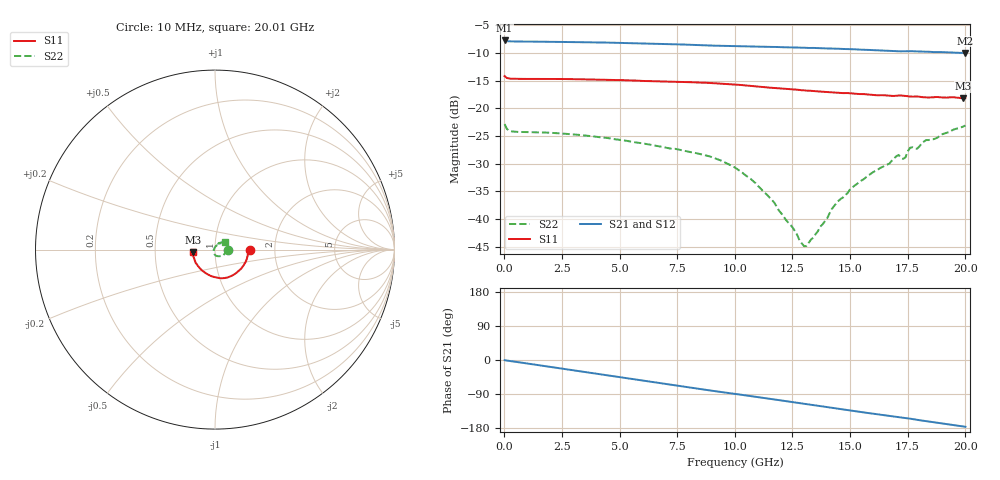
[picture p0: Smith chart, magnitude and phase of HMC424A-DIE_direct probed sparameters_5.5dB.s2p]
!s2p File: Measurements: S11, S21, S12, S22
# GHz S dB R 50.0
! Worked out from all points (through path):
!   201 points, 10 MHz to 20.01 GHz, reference 50 ohm
!   highest |S21| = -7.71 dB at 10 MHz (marker M1); lowest = -10.0 dB at 20.01 GHz (marker M2)
!   group delay of S21, straight-line fit = 24.3 ps
!   lowest |S11| = -18.1 dB at 19.91 GHz (marker M3), VSWR 1.28, Z = 39 - j1.12 ohm
!   |S11| at or under -10 dB: start of sweep to end of sweep
!   |S22| runs from -44.9 to -22.8 dB; largest |S21 - S12| = 0.0024
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0.01  -14.16 -1.0  -7.71 -0.4  -7.71 -0.4  -22.82 -1.9
0.11  -14.50 -2.1  -7.84 -1.5  -7.83 -1.5  -23.72 -5.1
0.31  -14.63 -2.9  -7.88 -3.2  -7.88 -3.2  -24.14 -4.9
3.41  -14.74 -23.8  -8.03 -31.2  -8.03 -31.2  -24.86 -28.2
6.71  -15.11 -48.0  -8.31 -61.0  -8.31 -61.0  -26.83 -53.8
8.91  -15.40 -66.2  -8.63 -80.2  -8.63 -80.2  -28.67 -75.0
10.01  -15.68 -76.2  -8.74 -89.5  -8.75 -89.4  -30.69 -90.9
10.71  -15.95 -82.4  -8.80 -95.4  -8.81 -95.3  -32.80 -101.4
11.61  -16.27 -90.3  -8.88 -103.2  -8.88 -103.1  -36.53 -120.0
13.01  -16.73 -102.7  -9.02 -115.5  -9.02 -115.4  -44.90 166.8
13.41  -16.84 -106.5  -9.06 -119.0  -9.08 -118.9  -43.36 130.9
14.21  -17.08 -114.4  -9.17 -126.1  -9.19 -125.9  -38.19 97.1
15.01  -17.26 -121.9  -9.28 -133.1  -9.30 -132.9  -34.57 79.3
16.71  -17.68 -139.5  -9.58 -147.7  -9.57 -147.6  -29.97 62.5
17.11  -17.67 -143.2  -9.68 -150.9  -9.62 -150.8  -28.40 55.4
17.31  -17.69 -145.9  -9.68 -152.4  -9.66 -152.6  -29.13 55.5
17.41  -17.74 -147.2  -9.66 -153.2  -9.67 -153.4  -28.82 60.6
17.61  -17.84 -148.9  -9.65 -154.8  -9.68 -155.2  -27.10 57.0
17.91  -17.85 -151.6  -9.68 -157.8  -9.72 -157.6  -27.28 52.4
18.31  -18.01 -156.5  -9.72 -161.4  -9.76 -161.1  -25.71 49.4
19.91  -18.14 -173.5  -9.95 -175.4  -9.96 -175.2  -23.28 37.1
20.01  -18.14 -174.4  -9.98 -176.2  -9.96 -176.1  -23.08 35.8
